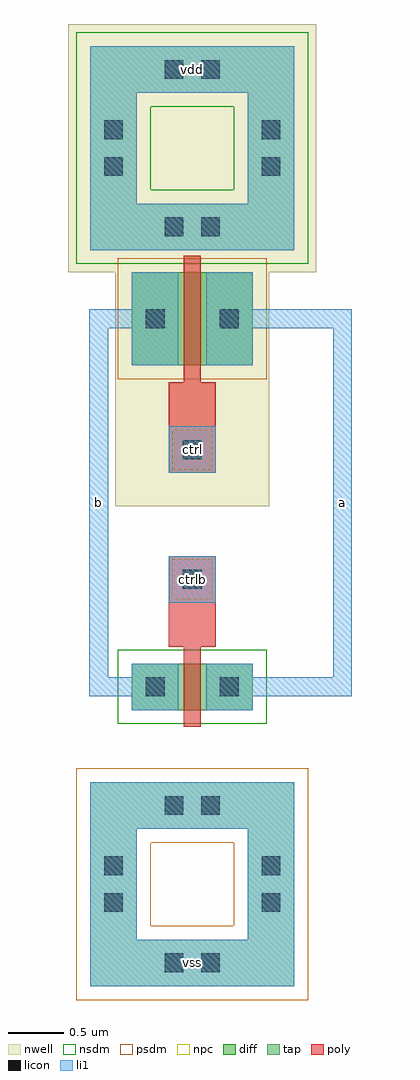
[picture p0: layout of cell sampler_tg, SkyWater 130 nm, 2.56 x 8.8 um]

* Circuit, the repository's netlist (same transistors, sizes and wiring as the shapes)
* extracted by klt extract --deck sky130

* cell sampler_tg
* pin a
* pin b
* pin ctrl
* pin ctrlb
* pin vdd
* pin vss
.SUBCKT sampler_tg a b ctrl ctrlb vdd vss
* device instance $1 r0 *1 0.545,0.21 nfet
M$1 a ctrlb b vss nfet L=0.15U W=0.42U AS=0.1974P AD=0.1974P PS=1.78U PD=1.78U
* device instance $2 r0 *1 0.545,3.53 pfet
M$2 a ctrl b vdd pfet L=0.15U W=0.84U AS=0.3948P AD=0.3948P PS=2.62U PD=2.62U
.ENDS sampler_tg

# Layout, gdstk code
import gdstk
lib = gdstk.Library(unit=1e-6, precision=1e-09)
def R(c, l, rs):  # rectangles x0, y0, x1, y1
    for r in rs: c.add(gdstk.rectangle(r[:2], r[2:], *l))
def P(c, l, *ps):  # polygons
    for p in ps: c.add(gdstk.Polygon(p, *l))
nwell = (64, 20)
diff = (65, 20)
tap = (65, 44)
poly = (66, 20)
licon = (66, 44)
li1 = (67, 20)
nsdm = (93, 44)
psdm = (94, 20)
npc = (95, 20)

guard_ring = lib.new_cell('guard_ring')
P(guard_ring, tap, [(0,0),(0,1.42),(0.42,1.42),(0.42,0.42),(1.42,0.42),(1.42,1.42),(0,1.42),(0,1.84),(1.84,1.84),(1.84,0)])
R(guard_ring, licon, [(0.67,0.125,0.84,0.295), (1,0.125,1.17,0.295), (0.125,0.67,0.295,0.84), (1.545,0.67,1.715,0.84), (0.125,1,0.295,1.17), (1.545,1,1.715,1.17), (0.67,1.545,0.84,1.715), (1,1.545,1.17,1.715)])
P(guard_ring, li1, [(0,0),(0,1.42),(0.42,1.42),(0.42,0.42),(1.42,0.42),(1.42,1.42),(0,1.42),(0,1.84),(1.84,1.84),(1.84,0)])
P(guard_ring, psdm, [(-0.125,-0.125),(-0.125,1.295),(0.545,1.295),(0.545,0.545),(1.295,0.545),(1.295,1.295),(-0.125,1.295),(-0.125,1.965),(1.965,1.965),(1.965,-0.125)])

psub_tap__psub_tap = lib.new_cell('psub_tap__psub_tap')
psub_tap__psub_tap.add(gdstk.Reference(guard_ring, (0,0)))

mos_array = lib.new_cell('mos_array')
R(mos_array, diff, [(0,0,1.09,0.42)])
R(mos_array, poly, [(0.47,-0.15,0.62,0.42), (0.47,0.42,0.62,0.57), (0.47,0.42,0.62,0.57), (0.335,0.57,0.755,1.39)])
R(mos_array, licon, [(0.125,0.125,0.295,0.295), (0.795,0.125,0.965,0.295), (0.46,1.095,0.63,1.265)])
R(mos_array, li1, [(0,0,0.42,0.42), (0.67,0,1.09,0.42), (0.335,0.97,0.755,1.39)])
R(mos_array, nsdm, [(-0.125,-0.125,1.215,0.545)])
R(mos_array, npc, [(0.365,1,0.725,1.36)])

mn__nfet_w0p42_l0p15 = lib.new_cell('mn__nfet_w0p42_l0p15')
mn__nfet_w0p42_l0p15.add(gdstk.Reference(mos_array, (0,0)))

guard_ring_1 = lib.new_cell('guard_ring$1')
R(guard_ring_1, nwell, [(-0.2,-0.2,2.04,2.04)])
P(guard_ring_1, tap, [(0,0),(0,1.42),(0.42,1.42),(0.42,0.42),(1.42,0.42),(1.42,1.42),(0,1.42),(0,1.84),(1.84,1.84),(1.84,0)])
R(guard_ring_1, licon, [(0.67,0.125,0.84,0.295), (1,0.125,1.17,0.295), (0.125,0.67,0.295,0.84), (1.545,0.67,1.715,0.84), (0.125,1,0.295,1.17), (1.545,1,1.715,1.17), (0.67,1.545,0.84,1.715), (1,1.545,1.17,1.715)])
P(guard_ring_1, li1, [(0,0),(0,1.42),(0.42,1.42),(0.42,0.42),(1.42,0.42),(1.42,1.42),(0,1.42),(0,1.84),(1.84,1.84),(1.84,0)])
P(guard_ring_1, nsdm, [(-0.125,-0.125),(-0.125,1.295),(0.545,1.295),(0.545,0.545),(1.295,0.545),(1.295,1.295),(-0.125,1.295),(-0.125,1.965),(1.965,1.965),(1.965,-0.125)])

nwell_tap__nwell_tap = lib.new_cell('nwell_tap__nwell_tap')
nwell_tap__nwell_tap.add(gdstk.Reference(guard_ring_1, (0,0)))

mos_array_1 = lib.new_cell('mos_array$1')
R(mos_array_1, nwell, [(-0.15,-0.15,1.24,2.11)])
R(mos_array_1, diff, [(0,0,1.09,0.84)])
R(mos_array_1, poly, [(0.47,-0.15,0.62,0.84), (0.47,0.84,0.62,0.99), (0.47,0.84,0.62,0.99), (0.335,0.99,0.755,1.81)])
R(mos_array_1, licon, [(0.125,0.335,0.295,0.505), (0.795,0.335,0.965,0.505), (0.46,1.515,0.63,1.685)])
R(mos_array_1, li1, [(0,0,0.42,0.84), (0.67,0,1.09,0.84), (0.335,1.39,0.755,1.81)])
R(mos_array_1, psdm, [(-0.125,-0.125,1.215,0.965)])
R(mos_array_1, npc, [(0.365,1.42,0.725,1.78)])

mp__pfet_w0p84_l0p15 = lib.new_cell('mp__pfet_w0p84_l0p15')
mp__pfet_w0p84_l0p15.add(gdstk.Reference(mos_array_1, (0,0)))

sampler_tg = lib.new_cell('sampler_tg')
sampler_tg.add(gdstk.FlexPath([(0.88,3.53),(1.9,3.53),(1.9,0.21),(0.88,0.21)], 0.17, ends="flush", simple_path=True, layer=67, datatype=20))  # li1
sampler_tg.add(gdstk.FlexPath([(0.21,0.21),(-0.3,0.21),(-0.3,3.53),(0.21,3.53)], 0.17, ends="flush", simple_path=True, layer=67, datatype=20))  # li1
sampler_tg.add(gdstk.Reference(psub_tap__psub_tap, (-0.375,-2.49)))
sampler_tg.add(gdstk.Reference(mn__nfet_w0p42_l0p15, (0,0)))
sampler_tg.add(gdstk.Reference(nwell_tap__nwell_tap, (-0.375,4.15)))
sampler_tg.add(gdstk.Reference(mp__pfet_w0p84_l0p15, (0,3.95), x_reflection=True))
sampler_tg.add(gdstk.Label('a', (1.9,1.87), layer=67, texttype=5))
sampler_tg.add(gdstk.Label('b', (-0.3,1.87), layer=67, texttype=5))
sampler_tg.add(gdstk.Label('ctrl', (0.545,2.35), layer=67, texttype=5))
sampler_tg.add(gdstk.Label('ctrlb', (0.545,1.18), layer=67, texttype=5))
sampler_tg.add(gdstk.Label('vdd', (0.545,5.78), layer=67, texttype=5))
sampler_tg.add(gdstk.Label('vss', (0.545,-2.28), layer=67, texttype=5))

lib.write_gds('sampler_tg.gds')
